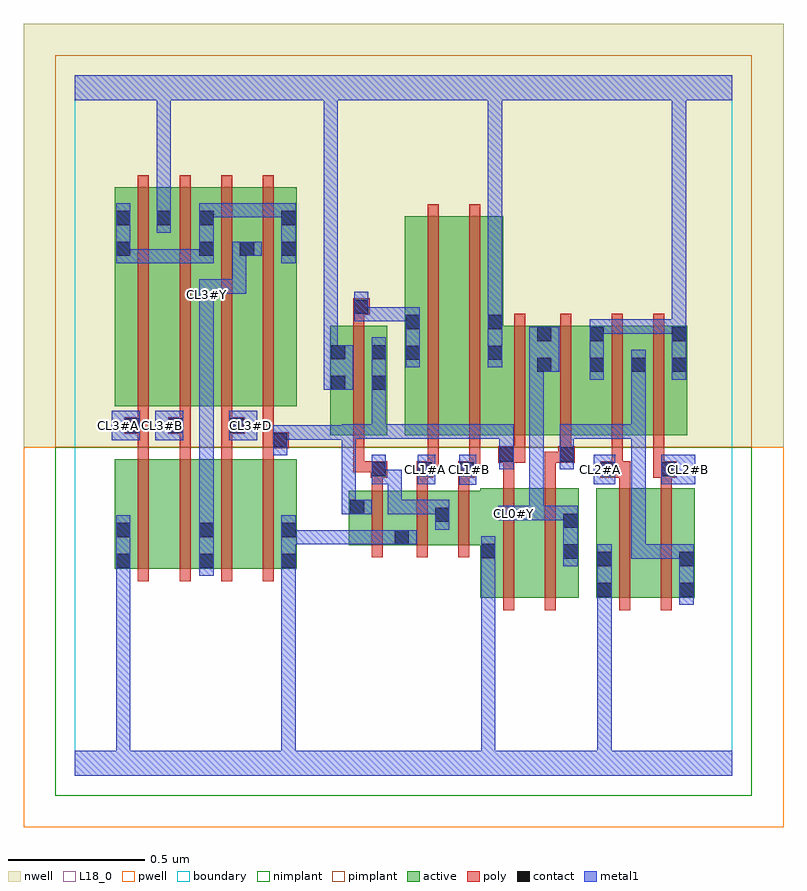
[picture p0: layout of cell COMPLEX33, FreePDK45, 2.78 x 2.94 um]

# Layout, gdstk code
import gdstk
lib = gdstk.Library(unit=1e-6, precision=1e-09)
def R(c, l, rs):  # rectangles x0, y0, x1, y1
    for r in rs: c.add(gdstk.rectangle(r[:2], r[2:], *l))
def A(c, l, x, y, w, h, nx, ny, dx, dy):  # array of equal rectangles
    R(c, l, [(x+i*dx, y+j*dy, x+i*dx+w, y+j*dy+h) for i in range(nx) for j in range(ny)])
active = (1, 0)
pwell = (2, 0)
nwell = (3, 0)
nimplant = (4, 0)
pimplant = (5, 0)
poly = (9, 0)
contact = (10, 0)
metal1 = (11, 0)
L18_0 = (18, 0)
boundary = (235, 0)

complex33 = lib.new_cell('COMPLEX33')
R(complex33, active, [(1.48,0.65,1.66,1.05), (1.48,0.65,1.54,1.042), (1.66,0.65,1.84,1.05), (1.904,0.65,1.964,1.05), (1.904,0.65,2.084,1.05), (2.084,0.65,2.264,1.05), (2.204,0.65,2.264,1.05), (0.146,0.756,0.206,1.156), (0.146,0.756,0.326,1.156), (0.326,0.756,0.51,1.156), (0.45,0.756,0.63,1.156), (0.45,0.756,0.51,0.928), (0.63,0.756,0.81,1.156), (0.75,0.756,0.81,1.156), (1.78,0.756,1.84,1.05), (1,0.842,1.224,1.042), (1,0.842,1.06,1.042), (1.164,0.842,1.372,1.042), (1.164,0.842,1.224,0.902), (1.312,0.842,1.54,1.042), (1.312,0.842,1.372,0.984), (0.932,1.244,0.992,1.644), (0.932,1.244,1.14,1.644), (1.08,1.244,1.14,1.644), (1.204,1.244,1.264,2.044), (1.204,1.244,1.384,2.044), (1.384,1.244,1.564,2.044), (1.504,1.244,1.744,1.644), (1.504,1.244,1.564,2.044), (1.684,1.244,1.744,1.644), (1.684,1.244,1.936,1.644), (1.876,1.244,1.936,1.644), (1.876,1.244,2.088,1.644), (2.028,1.244,2.088,1.644), (2.028,1.244,2.236,1.644), (2.176,1.244,2.236,1.644), (0.146,1.35,0.206,2.15), (0.146,1.35,0.354,2.15), (0.294,1.35,0.51,2.15), (0.294,1.35,0.354,2.068), (0.45,1.35,0.51,2.15), (0.45,1.35,0.658,2.15), (0.598,1.35,0.81,2.15), (0.598,1.35,0.658,2.044), (0.75,1.35,0.81,2.15)])
R(complex33, pwell, [(-0.188,-0.188,2.588,1.2)])
R(complex33, nwell, [(-0.188,1.2,2.588,2.748)])
R(complex33, nimplant, [(-0.072,-0.072,2.472,1.2)])
R(complex33, pimplant, [(-0.072,1.2,2.472,2.632)])
A(complex33, poly, 0.23, 0.712, 0.04, 0.488, 4, 1, 0.152, 0)
A(complex33, poly, 0.23, 1.16, 0.04, 0.13, 3, 1, 0.152, 0)
A(complex33, poly, 0.23, 1.27, 0.04, 0.076, 3, 1, 0.152, 0)
A(complex33, poly, 0.23, 1.306, 0.04, 0.888, 4, 1, 0.152, 0)
R(complex33, poly, [(1.564,0.606,1.604,1.094), (1.716,0.606,1.756,1.094), (1.988,0.606,2.028,1.094), (2.14,0.606,2.18,1.094), (1.084,0.798,1.124,1.086), (1.248,0.798,1.288,1.086), (1.4,0.798,1.44,1.086), (1.084,1.046,1.124,1.13), (1.248,1.046,1.288,1.13), (1.4,1.046,1.44,1.13), (1.564,1.054,1.604,1.184), (1.716,1.054,1.756,1.184), (1.988,1.054,2.028,1.13), (2.14,1.054,2.18,1.13), (1.08,1.09,1.14,1.15), (1.248,1.09,1.308,1.15), (1.4,1.09,1.46,1.15), (1.918,1.09,2.028,1.15), (2.112,1.09,2.198,1.15), (2.14,1.09,2.18,1.13), (2.14,1.09,2.18,1.13), (1.016,1.11,1.056,1.24), (1.016,1.11,1.12,1.15), (1.08,1.11,1.12,1.15), (1.268,1.11,1.308,1.15), (1.268,1.11,1.328,1.15), (1.288,1.11,1.328,1.24), (1.42,1.11,1.46,1.15), (1.42,1.11,1.48,1.15), (1.44,1.11,1.48,1.24), (1.96,1.11,2,1.24), (1.96,1.11,2,1.15), (1.96,1.11,2,1.15), (2.112,1.11,2.152,1.24), (1.546,1.144,1.644,1.204), (1.564,1.144,1.604,1.184), (1.564,1.144,1.604,1.184), (1.716,1.144,1.806,1.184), (1.766,1.144,1.806,1.184), (1.766,1.144,1.826,1.204), (0.686,1.16,0.726,1.236), (1.604,1.164,1.644,1.24), (1.772,1.164,1.812,1.24), (0.686,1.196,0.78,1.256), (1.016,1.2,1.056,1.688), (1.288,1.2,1.328,2.088), (1.44,1.2,1.48,2.088), (1.604,1.2,1.644,1.688), (1.772,1.2,1.812,1.688), (1.96,1.2,2,1.688), (2.112,1.2,2.152,1.688), (0.686,1.216,0.726,1.346), (0.686,1.216,0.726,1.256), (0.686,1.216,0.726,1.256), (0.18,1.25,0.27,1.31), (0.23,1.25,0.27,1.29), (0.23,1.25,0.27,1.29), (0.34,1.25,0.422,1.31), (0.382,1.25,0.422,1.29), (0.382,1.25,0.422,1.29), (0.534,1.25,0.62,1.31), (0.534,1.27,0.574,1.31), (0.534,1.27,0.574,1.31), (1.016,1.648,1.056,1.724), (1.016,1.684,1.076,1.744)])
R(complex33, contact, [(1.908,0.654,1.96,0.706), (2.208,0.654,2.26,0.706), (0.15,0.76,0.202,0.812), (0.454,0.76,0.506,0.812), (0.754,0.76,0.806,0.812), (1.908,0.766,1.96,0.818), (2.208,0.766,2.26,0.818), (1.784,0.794,1.836,0.846), (1.484,0.796,1.536,0.848), (1.168,0.846,1.22,0.898), (0.15,0.872,0.202,0.924), (0.454,0.872,0.506,0.924), (0.754,0.872,0.806,0.924), (1.784,0.906,1.836,0.958), (1.316,0.928,1.368,0.98), (1.004,0.956,1.056,1.008), (1.084,1.094,1.136,1.146), (1.252,1.094,1.304,1.146), (1.404,1.094,1.456,1.146), (1.922,1.094,1.974,1.146), (2.142,1.094,2.194,1.146), (1.55,1.148,1.602,1.2), (1.77,1.148,1.822,1.2), (0.724,1.2,0.776,1.252), (0.184,1.254,0.236,1.306), (0.344,1.254,0.396,1.306), (0.564,1.254,0.616,1.306), (0.936,1.41,0.988,1.462), (1.084,1.41,1.136,1.462), (1.688,1.476,1.74,1.528), (1.88,1.476,1.932,1.528), (2.032,1.476,2.084,1.528), (2.18,1.476,2.232,1.528), (1.208,1.52,1.26,1.572), (1.508,1.52,1.56,1.572), (0.936,1.522,0.988,1.574), (1.084,1.522,1.136,1.574), (1.688,1.588,1.74,1.64), (1.88,1.588,1.932,1.64), (2.18,1.588,2.232,1.64), (1.208,1.632,1.26,1.684), (1.508,1.632,1.56,1.684), (1.02,1.688,1.072,1.74), (0.15,1.9,0.202,1.952), (0.454,1.9,0.506,1.952), (0.602,1.9,0.654,1.952), (0.754,1.9,0.806,1.952), (0.15,2.012,0.202,2.064), (0.298,2.012,0.35,2.064), (0.454,2.012,0.506,2.064), (0.754,2.012,0.806,2.064)])
R(complex33, metal1, [(0,0,2.4,0.092), (0.15,0.04,0.202,0.092), (0.15,0.04,0.202,0.092), (0.15,0.04,0.202,0.092), (0.15,0.04,0.202,0.092), (0.15,0.04,0.202,0.092), (0.15,0.04,0.202,0.092), (0.15,0.04,0.202,0.784), (0.754,0.04,0.806,0.092), (0.754,0.04,0.806,0.092), (0.754,0.04,0.806,0.092), (0.754,0.04,0.806,0.092), (0.754,0.04,0.806,0.092), (0.754,0.04,0.806,0.092), (0.754,0.04,0.806,0.092), (0.754,0.04,0.806,0.092), (0.754,0.04,0.806,0.092), (0.754,0.04,0.806,0.092), (0.754,0.04,0.806,0.784), (1.484,0.04,1.536,0.092), (1.484,0.04,1.536,0.092), (1.484,0.04,1.536,0.092), (1.484,0.04,1.536,0.092), (1.484,0.04,1.536,0.092), (1.484,0.04,1.536,0.092), (1.484,0.04,1.536,0.092), (1.484,0.04,1.536,0.092), (1.484,0.04,1.536,0.092), (1.484,0.04,1.536,0.092), (1.484,0.04,1.536,0.82), (1.908,0.04,1.96,0.092), (1.908,0.04,1.96,0.092), (1.908,0.04,1.96,0.092), (1.908,0.04,1.96,0.092), (1.908,0.04,1.96,0.092), (1.908,0.04,1.96,0.092), (1.908,0.04,1.96,0.092), (1.908,0.04,1.96,0.092), (1.908,0.04,1.96,0.678), (1.908,0.626,1.96,0.678), (1.908,0.626,1.96,0.678), (1.908,0.626,1.96,0.678), (1.908,0.626,1.96,0.678), (1.908,0.626,1.96,0.846), (2.208,0.626,2.26,0.846), (0.15,0.732,0.202,0.784), (0.15,0.732,0.202,0.784), (0.15,0.732,0.202,0.784), (0.15,0.732,0.202,0.784), (0.15,0.732,0.202,0.784), (0.15,0.732,0.202,0.784), (0.15,0.732,0.202,0.952), (0.454,0.732,0.506,0.952), (0.754,0.732,0.806,0.784), (0.754,0.732,0.806,0.784), (0.754,0.732,0.806,0.952), (1.784,0.766,1.836,0.986), (1.484,0.768,1.536,0.82), (1.484,0.768,1.536,0.82), (1.484,0.768,1.536,0.876), (2.032,0.794,2.084,0.846), (2.032,0.794,2.084,0.846), (2.032,0.794,2.084,0.846), (2.032,0.794,2.26,0.846), (2.032,0.794,2.084,1.284), (0.754,0.846,0.916,0.898), (0.864,0.846,0.916,0.898), (0.864,0.846,0.916,0.898), (0.864,0.846,0.916,0.898), (0.864,0.846,0.916,0.898), (0.864,0.846,0.916,0.898), (0.864,0.846,0.916,0.898), (0.864,0.846,0.916,0.898), (0.864,0.846,1.192,0.898), (1.14,0.846,1.248,0.898), (0.454,0.9,0.506,1.758), (1.316,0.9,1.368,1.008), (1.546,0.934,1.712,0.986), (1.66,0.934,1.712,0.986), (1.66,0.934,1.712,0.986), (1.66,0.934,1.836,0.986), (1.66,0.934,1.712,1.528), (1.784,0.934,1.836,0.986), (1.784,0.934,1.836,0.986), (0.974,0.956,1.084,1.008), (0.974,0.956,1.026,1.28), (1.142,0.956,1.194,1.008), (1.142,0.956,1.246,1.008), (1.142,0.956,1.194,1.118), (1.194,0.956,1.246,1.008), (1.194,0.956,1.344,1.008), (1.292,0.956,1.344,1.008), (1.292,0.956,1.368,1.008), (1.404,1.064,1.466,1.174), (1.084,1.066,1.136,1.174), (1.084,1.066,1.194,1.118), (1.142,1.066,1.194,1.118), (1.252,1.066,1.316,1.174), (1.894,1.066,1.974,1.174), (2.142,1.066,2.266,1.174), (1.55,1.12,1.602,1.284), (1.77,1.12,1.822,1.228), (0.724,1.172,0.776,1.28), (1.77,1.176,1.822,1.228), (1.77,1.176,1.822,1.284), (0.134,1.226,0.236,1.334), (0.294,1.226,0.396,1.334), (0.564,1.226,0.666,1.334), (0.724,1.228,0.776,1.28), (0.724,1.228,0.776,1.28), (0.724,1.228,1.026,1.28), (0.974,1.228,1.026,1.28), (0.974,1.228,1.026,1.284), (0.974,1.232,1.026,1.284), (0.974,1.232,1.136,1.284), (1.084,1.232,1.136,1.284), (1.084,1.232,1.136,1.284), (1.084,1.232,1.136,1.284), (1.084,1.232,1.246,1.284), (1.084,1.232,1.136,1.434), (1.194,1.232,1.246,1.284), (1.194,1.232,1.304,1.284), (1.252,1.232,1.304,1.284), (1.252,1.232,1.378,1.284), (1.326,1.232,1.378,1.284), (1.326,1.232,1.488,1.284), (1.436,1.232,1.488,1.284), (1.436,1.232,1.488,1.284), (1.436,1.232,1.488,1.284), (1.436,1.232,1.602,1.284), (1.77,1.232,1.974,1.284), (1.922,1.232,1.974,1.284), (1.922,1.232,1.974,1.284), (1.922,1.232,1.974,1.284), (1.922,1.232,2.084,1.284), (2.032,1.232,2.084,1.284), (2.032,1.232,2.084,1.284), (2.032,1.232,2.084,1.284), (2.032,1.232,2.084,1.5), (1.084,1.382,1.136,1.602), (0.908,1.41,1.016,1.574), (1.88,1.448,1.932,1.668), (2.032,1.448,2.084,1.556), (2.18,1.448,2.232,1.668), (1.66,1.476,1.712,1.528), (1.66,1.476,1.712,1.528), (1.66,1.476,1.768,1.64), (1.208,1.492,1.26,1.712), (1.508,1.492,1.56,1.712), (0.908,1.522,0.96,1.574), (0.908,1.522,0.96,1.574), (0.908,1.522,0.96,2.52), (1.88,1.616,1.974,1.668), (1.922,1.616,1.974,1.668), (1.922,1.616,2.122,1.668), (2.07,1.616,2.122,1.668), (2.07,1.616,2.232,1.668), (2.18,1.616,2.232,1.668), (2.18,1.616,2.232,1.668), (2.18,1.616,2.232,1.668), (2.18,1.616,2.232,1.668), (2.18,1.616,2.232,2.52), (1.02,1.66,1.072,1.768), (1.02,1.66,1.194,1.712), (1.142,1.66,1.194,1.712), (1.142,1.66,1.26,1.712), (1.508,1.66,1.56,2.52), (0.454,1.706,0.506,1.814), (0.454,1.762,0.506,1.814), (0.454,1.762,0.506,1.814), (0.454,1.762,0.626,1.814), (0.574,1.762,0.626,1.814), (0.574,1.762,0.626,1.814), (0.574,1.762,0.626,1.814), (0.574,1.762,0.626,1.952), (0.15,1.872,0.202,1.924), (0.15,1.872,0.202,1.924), (0.15,1.872,0.202,2.092), (0.15,1.872,0.396,1.924), (0.344,1.872,0.396,1.924), (0.344,1.872,0.396,1.924), (0.344,1.872,0.396,1.924), (0.344,1.872,0.506,1.924), (0.454,1.872,0.506,2.092), (0.754,1.872,0.806,2.092), (0.574,1.9,0.682,1.952), (0.298,1.984,0.35,2.092), (0.298,2.04,0.35,2.092), (0.298,2.04,0.35,2.092), (0.298,2.04,0.35,2.092), (0.298,2.04,0.35,2.092), (0.298,2.04,0.35,2.52), (0.454,2.04,0.506,2.092), (0.454,2.04,0.506,2.092), (0.454,2.04,0.506,2.092), (0.454,2.04,0.506,2.092), (0.454,2.04,0.616,2.092), (0.564,2.04,0.616,2.092), (0.564,2.04,0.806,2.092), (0.754,2.04,0.806,2.092), (0.754,2.04,0.806,2.092), (0,2.468,2.4,2.56), (0.298,2.468,0.35,2.52), (0.298,2.468,0.35,2.52), (0.298,2.468,0.35,2.52), (0.298,2.468,0.35,2.52), (0.908,2.468,0.96,2.52), (0.908,2.468,0.96,2.52), (0.908,2.468,0.96,2.52), (0.908,2.468,0.96,2.52), (0.908,2.468,0.96,2.52), (0.908,2.468,0.96,2.52), (0.908,2.468,0.96,2.52), (0.908,2.468,0.96,2.52), (0.908,2.468,0.96,2.52), (0.908,2.468,0.96,2.52), (0.908,2.468,0.96,2.52), (0.908,2.468,0.96,2.52), (0.908,2.468,0.96,2.52), (0.908,2.468,0.96,2.52), (1.508,2.468,1.56,2.52), (1.508,2.468,1.56,2.52), (1.508,2.468,1.56,2.52), (1.508,2.468,1.56,2.52), (1.508,2.468,1.56,2.52), (1.508,2.468,1.56,2.52), (1.508,2.468,1.56,2.52), (1.508,2.468,1.56,2.52), (2.18,2.468,2.232,2.52), (2.18,2.468,2.232,2.52), (2.18,2.468,2.232,2.52), (2.18,2.468,2.232,2.52), (2.18,2.468,2.232,2.52), (2.18,2.468,2.232,2.52), (2.18,2.468,2.232,2.52), (2.18,2.468,2.232,2.52), (2.18,2.468,2.232,2.52), (2.18,2.468,2.232,2.52), (2.18,2.468,2.232,2.52), (2.18,2.468,2.232,2.52), (2.18,2.468,2.232,2.52), (2.18,2.468,2.232,2.52)])
R(complex33, L18_0, [(0,0,2.4,0.092), (0.15,0.04,0.202,0.092), (0.15,0.04,0.202,0.092), (0.15,0.04,0.202,0.092), (0.15,0.04,0.202,0.092), (0.15,0.04,0.202,0.092), (0.15,0.04,0.202,0.092), (0.15,0.04,0.202,0.784), (0.754,0.04,0.806,0.092), (0.754,0.04,0.806,0.092), (0.754,0.04,0.806,0.092), (0.754,0.04,0.806,0.092), (0.754,0.04,0.806,0.092), (0.754,0.04,0.806,0.092), (0.754,0.04,0.806,0.092), (0.754,0.04,0.806,0.092), (0.754,0.04,0.806,0.092), (0.754,0.04,0.806,0.092), (0.754,0.04,0.806,0.784), (1.484,0.04,1.536,0.092), (1.484,0.04,1.536,0.092), (1.484,0.04,1.536,0.092), (1.484,0.04,1.536,0.092), (1.484,0.04,1.536,0.092), (1.484,0.04,1.536,0.092), (1.484,0.04,1.536,0.092), (1.484,0.04,1.536,0.092), (1.484,0.04,1.536,0.092), (1.484,0.04,1.536,0.092), (1.484,0.04,1.536,0.82), (1.908,0.04,1.96,0.092), (1.908,0.04,1.96,0.092), (1.908,0.04,1.96,0.092), (1.908,0.04,1.96,0.092), (1.908,0.04,1.96,0.092), (1.908,0.04,1.96,0.092), (1.908,0.04,1.96,0.092), (1.908,0.04,1.96,0.092), (1.908,0.04,1.96,0.678), (1.908,0.626,1.96,0.678), (1.908,0.626,1.96,0.678), (1.908,0.626,1.96,0.678), (1.908,0.626,1.96,0.678), (1.908,0.626,1.96,0.846), (0.15,0.732,0.202,0.784), (0.15,0.732,0.202,0.784), (0.15,0.732,0.202,0.784), (0.15,0.732,0.202,0.784), (0.15,0.732,0.202,0.784), (0.15,0.732,0.202,0.784), (0.15,0.732,0.202,0.952), (0.454,0.732,0.506,0.952), (0.754,0.732,0.806,0.784), (0.754,0.732,0.806,0.784), (0.754,0.732,0.806,0.952), (1.784,0.766,1.836,0.986), (1.484,0.768,1.536,0.82), (1.484,0.768,1.536,0.82), (1.484,0.768,1.536,0.876), (0.754,0.846,0.916,0.898), (0.864,0.846,0.916,0.898), (0.864,0.846,0.916,0.898), (0.864,0.846,0.916,0.898), (0.864,0.846,0.916,0.898), (0.864,0.846,0.916,0.898), (0.864,0.846,0.916,0.898), (0.864,0.846,0.916,0.898), (0.864,0.846,1.192,0.898), (1.14,0.846,1.248,0.898), (0.454,0.9,0.506,1.758), (1.546,0.934,1.712,0.986), (1.574,0.934,1.626,0.986), (1.66,0.934,1.712,0.986), (1.66,0.934,1.712,0.986), (1.66,0.934,1.712,1.528), (1.66,0.934,1.836,0.986), (1.784,0.934,1.836,0.986), (1.784,0.934,1.836,0.986), (1.404,1.064,1.466,1.174), (1.252,1.066,1.316,1.174), (1.894,1.066,1.974,1.174), (2.142,1.066,2.266,1.174), (1.254,1.094,1.306,1.146), (1.414,1.094,1.466,1.146), (1.894,1.094,1.946,1.146), (2.214,1.094,2.266,1.146), (0.134,1.226,0.236,1.334), (0.294,1.226,0.396,1.334), (0.564,1.226,0.666,1.334), (0.134,1.254,0.186,1.306), (0.294,1.254,0.346,1.306), (0.614,1.254,0.666,1.306), (0.908,1.41,1.016,1.574), (1.88,1.448,1.932,1.668), (2.18,1.448,2.232,1.668), (1.66,1.476,1.712,1.528), (1.66,1.476,1.712,1.528), (1.66,1.476,1.768,1.64), (1.508,1.492,1.56,1.712), (0.908,1.522,0.96,1.574), (0.908,1.522,0.96,1.574), (0.908,1.522,0.96,2.52), (1.88,1.616,1.974,1.668), (1.922,1.616,1.974,1.668), (1.922,1.616,2.122,1.668), (2.07,1.616,2.122,1.668), (2.07,1.616,2.232,1.668), (2.18,1.616,2.232,1.668), (2.18,1.616,2.232,1.668), (2.18,1.616,2.232,1.668), (2.18,1.616,2.232,1.668), (2.18,1.616,2.232,2.52), (1.508,1.66,1.56,2.52), (0.454,1.706,0.506,1.814), (0.454,1.734,0.506,1.786), (0.454,1.762,0.506,1.814), (0.454,1.762,0.506,1.814), (0.454,1.762,0.626,1.814), (0.574,1.762,0.626,1.814), (0.574,1.762,0.626,1.814), (0.574,1.762,0.626,1.814), (0.574,1.762,0.626,1.952), (0.574,1.9,0.682,1.952), (0.298,1.984,0.35,2.092), (0.298,2.04,0.35,2.092), (0.298,2.04,0.35,2.092), (0.298,2.04,0.35,2.092), (0.298,2.04,0.35,2.092), (0.298,2.04,0.35,2.52), (0,2.468,2.4,2.56), (0.298,2.468,0.35,2.52), (0.298,2.468,0.35,2.52), (0.298,2.468,0.35,2.52), (0.298,2.468,0.35,2.52), (0.908,2.468,0.96,2.52), (0.908,2.468,0.96,2.52), (0.908,2.468,0.96,2.52), (0.908,2.468,0.96,2.52), (0.908,2.468,0.96,2.52), (0.908,2.468,0.96,2.52), (0.908,2.468,0.96,2.52), (0.908,2.468,0.96,2.52), (0.908,2.468,0.96,2.52), (0.908,2.468,0.96,2.52), (0.908,2.468,0.96,2.52), (0.908,2.468,0.96,2.52), (0.908,2.468,0.96,2.52), (0.908,2.468,0.96,2.52), (1.508,2.468,1.56,2.52), (1.508,2.468,1.56,2.52), (1.508,2.468,1.56,2.52), (1.508,2.468,1.56,2.52), (1.508,2.468,1.56,2.52), (1.508,2.468,1.56,2.52), (1.508,2.468,1.56,2.52), (1.508,2.468,1.56,2.52), (2.18,2.468,2.232,2.52), (2.18,2.468,2.232,2.52), (2.18,2.468,2.232,2.52), (2.18,2.468,2.232,2.52), (2.18,2.468,2.232,2.52), (2.18,2.468,2.232,2.52), (2.18,2.468,2.232,2.52), (2.18,2.468,2.232,2.52), (2.18,2.468,2.232,2.52), (2.18,2.468,2.232,2.52), (2.18,2.468,2.232,2.52), (2.18,2.468,2.232,2.52), (2.18,2.468,2.232,2.52), (2.18,2.468,2.232,2.52)])
R(complex33, boundary, [(0,0,2.4,2.56)])
complex33.add(gdstk.Label('CL0#Y', (1.6,0.96), layer=11, texttype=0))
complex33.add(gdstk.Label('CL1#A', (1.28,1.12), layer=11, texttype=0))
complex33.add(gdstk.Label('CL1#B', (1.44,1.12), layer=11, texttype=0))
complex33.add(gdstk.Label('CL2#A', (1.92,1.12), layer=11, texttype=0))
complex33.add(gdstk.Label('CL2#B', (2.24,1.12), layer=11, texttype=0))
complex33.add(gdstk.Label('CL3#A', (0.16,1.28), layer=11, texttype=0))
complex33.add(gdstk.Label('CL3#B', (0.32,1.28), layer=11, texttype=0))
complex33.add(gdstk.Label('CL3#D', (0.64,1.28), layer=11, texttype=0))
complex33.add(gdstk.Label('CL3#Y', (0.48,1.76), layer=11, texttype=0))

lib.write_gds('COMPLEX33.gds')
